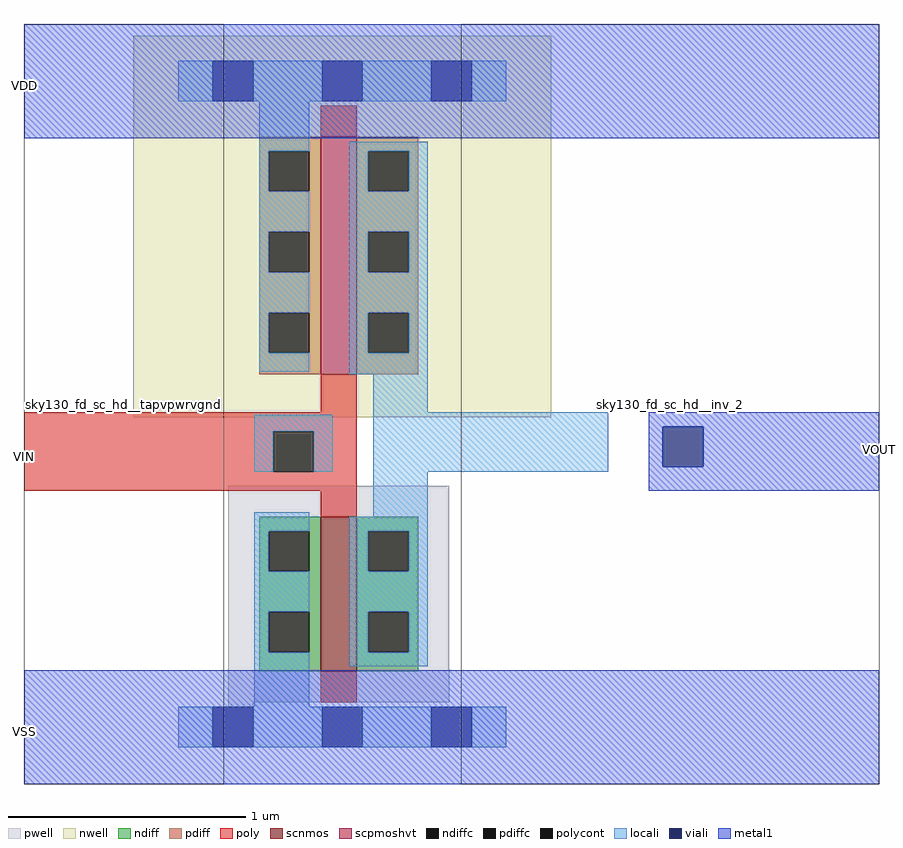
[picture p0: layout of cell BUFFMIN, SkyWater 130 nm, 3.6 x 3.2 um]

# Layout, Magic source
magic
tech sky130A
magscale 1 2
<< poly >>
rect -76 199 118 265
<< locali >>
rect 218 215 416 265
<< viali >>
rect 462 219 496 253
<< metal1 >>
rect -76 496 644 592
rect 450 253 644 265
rect 450 219 462 253
rect 496 219 644 253
rect 450 199 644 219
rect -76 -48 644 48
use sky130_fd_sc_hd__inv_1  sky130_fd_sc_hd__inv_1_0 $PDKPATH/libs.ref/sky130_fd_sc_hd/mag
transform 1 0 54 0 1 0
box -38 -48 314 592
use sky130_fd_sc_hd__inv_2  sky130_fd_sc_hd__inv_2_0 $PDKPATH/libs.ref/sky130_fd_sc_hd/mag
transform 1 0 330 0 1 0
box -38 -48 314 592
use sky130_fd_sc_hd__tapvpwrvgnd_1  sky130_fd_sc_hd__tapvpwrvgnd_1_0 $PDKPATH/libs.ref/sky130_fd_sc_hd/mag
transform 1 0 -38 0 1 0
box -38 -48 130 592
<< labels >>
rlabel poly -76 228 -76 228 7 VIN
port 1 w
rlabel metal1 644 234 644 234 3 VOUT
port 2 e
rlabel metal1 -76 -4 -76 -4 7 VSS
port 3 w
rlabel metal1 -76 540 -76 540 7 VDD
port 4 w
<< end >>

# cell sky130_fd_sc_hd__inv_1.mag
magic
tech sky130A
magscale 1 2
<< nwell >>
rect -38 261 314 582
<< pwell >>
rect 42 21 228 203
rect 42 17 63 21
rect 29 -17 63 17
<< scnmos >>
rect 120 47 150 177
<< scpmoshvt >>
rect 120 297 150 497
<< ndiff >>
rect 68 165 120 177
rect 68 131 76 165
rect 110 131 120 165
rect 68 97 120 131
rect 68 63 76 97
rect 110 63 120 97
rect 68 47 120 63
rect 150 165 202 177
rect 150 131 160 165
rect 194 131 202 165
rect 150 97 202 131
rect 150 63 160 97
rect 194 63 202 97
rect 150 47 202 63
<< pdiff >>
rect 68 485 120 497
rect 68 451 76 485
rect 110 451 120 485
rect 68 417 120 451
rect 68 383 76 417
rect 110 383 120 417
rect 68 349 120 383
rect 68 315 76 349
rect 110 315 120 349
rect 68 297 120 315
rect 150 485 202 497
rect 150 451 160 485
rect 194 451 202 485
rect 150 417 202 451
rect 150 383 160 417
rect 194 383 202 417
rect 150 349 202 383
rect 150 315 160 349
rect 194 315 202 349
rect 150 297 202 315
<< ndiffc >>
rect 76 131 110 165
rect 76 63 110 97
rect 160 131 194 165
rect 160 63 194 97
<< pdiffc >>
rect 76 451 110 485
rect 76 383 110 417
rect 76 315 110 349
rect 160 451 194 485
rect 160 383 194 417
rect 160 315 194 349
<< poly >>
rect 120 497 150 523
rect 120 265 150 297
rect 64 249 150 265
rect 64 215 80 249
rect 114 215 150 249
rect 64 199 150 215
rect 120 177 150 199
rect 120 21 150 47
<< polycont >>
rect 80 215 114 249
<< locali >>
rect 0 527 29 561
rect 63 527 121 561
rect 155 527 213 561
rect 247 527 276 561
rect 68 485 110 527
rect 68 451 76 485
rect 68 417 110 451
rect 68 383 76 417
rect 68 349 110 383
rect 68 315 76 349
rect 68 299 110 315
rect 144 485 210 493
rect 144 451 160 485
rect 194 451 210 485
rect 144 417 210 451
rect 144 383 160 417
rect 194 383 210 417
rect 144 349 210 383
rect 144 315 160 349
rect 194 315 210 349
rect 144 297 210 315
rect 64 249 130 263
rect 64 215 80 249
rect 114 215 130 249
rect 64 165 110 181
rect 164 177 210 297
rect 64 131 76 165
rect 64 97 110 131
rect 64 63 76 97
rect 64 17 110 63
rect 144 165 210 177
rect 144 131 160 165
rect 194 131 210 165
rect 144 97 210 131
rect 144 63 160 97
rect 194 63 210 97
rect 144 51 210 63
rect 0 -17 29 17
rect 63 -17 121 17
rect 155 -17 213 17
rect 247 -17 276 17
<< viali >>
rect 29 527 63 561
rect 121 527 155 561
rect 213 527 247 561
rect 29 -17 63 17
rect 121 -17 155 17
rect 213 -17 247 17
<< metal1 >>
rect 0 561 276 592
rect 0 527 29 561
rect 63 527 121 561
rect 155 527 213 561
rect 247 527 276 561
rect 0 496 276 527
rect 0 17 276 48
rect 0 -17 29 17
rect 63 -17 121 17
rect 155 -17 213 17
rect 247 -17 276 17
rect 0 -48 276 -17
<< labels >>
flabel metal1 s 29 -17 63 17 0 FreeSans 200 0 0 0 VGND
port 1 nsew
flabel metal1 s 29 527 63 561 0 FreeSans 200 0 0 0 VPWR
port 2 nsew
rlabel comment s 0 0 0 0 4 inv_1
flabel locali s 164 289 198 323 0 FreeSans 340 0 0 0 Y
port 7 nsew
flabel locali s 164 221 198 255 0 FreeSans 340 0 0 0 Y
port 7 nsew
flabel locali s 72 221 106 255 0 FreeSans 340 0 0 0 A
port 6 nsew
flabel nwell s 29 527 63 561 0 FreeSans 200 0 0 0 VPB
port 4 nsew
flabel pwell s 29 -17 63 17 0 FreeSans 200 0 0 0 VNB
port 5 nsew
<< properties >>
string FIXED_BBOX 0 0 276 544
string path 0.000 0.000 1.380 0.000 
<< end >>
